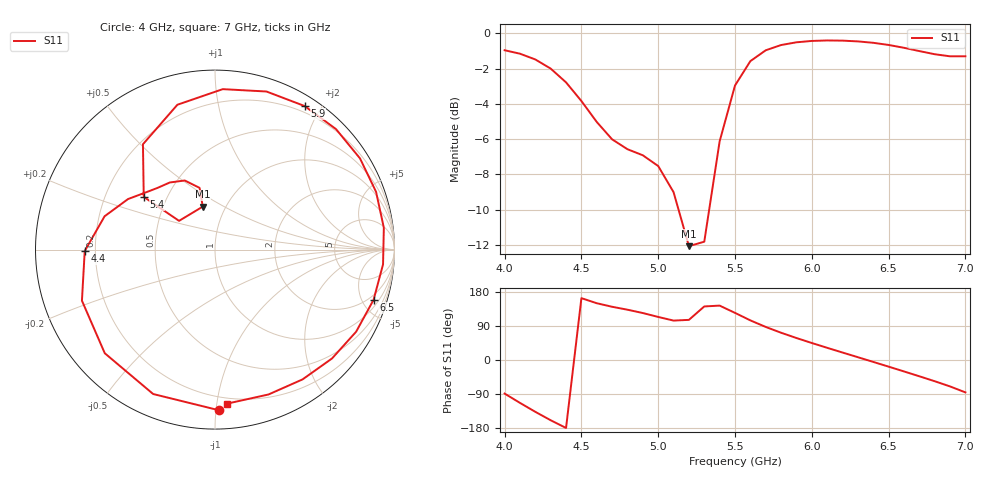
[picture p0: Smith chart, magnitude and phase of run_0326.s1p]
! Touchstone file exported from HFSS 2024.2.0
!  File:  C:/Users/wsak9/Desktop/Sim Fast/Widenad Patch/WP_AI_V1_sweep.aedt
!  Generated:  04:49:04 AM Oct 14, 2026
!  Design:  A1_model
!  Project:  WP_AI_V1_sweep
!  Setup:  Setup1
!  Solution:  Sweep
! Variables:
!  Air_gap = 3.11mm
!  Curve_Amp1 = 1.5
!  Curve_len1 = 1
!  Curve_pos = 11.8mm
!  Extra = 4.81mm
!  H_sub = 0.79mm
!  L_Patch = 19.6mm
!  L_Patch1 = 19.76mm
!  Sx = 2.45mm
!  Sy = 4.83mm
!  WS = 0.74mm
!  W_Patch = 13.86mm
!  W_Patch1 = 14.95mm
!Data is not renormalized
# GHz S MA
! Terminal data exported
! Port[1] = 1
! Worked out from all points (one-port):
!   31 points, 4 GHz to 7 GHz, reference per port
!   lowest |S11| = -12.1 dB at 5.2 GHz (marker M1), VSWR 1.66
!   |S11| at or under -10 dB: 5.132 GHz to 5.332 GHz (199.7 MHz wide, 3.82 % of centre)
!   S11 on the Smith chart (normalised r, x): 4 GHz: 0.11, -1.02; 4.4 GHz: 0.16, -0.01; 5.4 GHz: 0.37, +0.29; 5.9 GHz: 0.12, +1.80; 6.5 GHz: 1.54, -6.10; 7 GHz: 0.16, -1.07
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4  0.8953 -88.6
4.1  0.8753 -113.2
4.2  0.843 -136.8
4.3  0.7941 -159.0
4.4  0.7258 -179.3
4.5  0.6426 163.2
4.6  0.5604 149.8
4.8  0.469 132.7
5  0.4202 113.6
5.1  0.3543 104.0
5.2  0.249 105.9
5.3  0.2564 141.3
5.4  0.4938 143.5
5.5  0.7111 124.4
5.6  0.8338 104.6
5.7  0.895 87.2
5.8  0.9263 72.0
5.9  0.943 58.0
6  0.9514 44.8
6.1  0.9544 32.2
6.2  0.9533 19.7
6.3  0.9485 7.4
6.4  0.9398 -5.0
6.5  0.9268 -17.5
6.6  0.9098 -30.2
6.7  0.8905 -42.9
6.9  0.8605 -69.7
7  0.8607 -85.5
